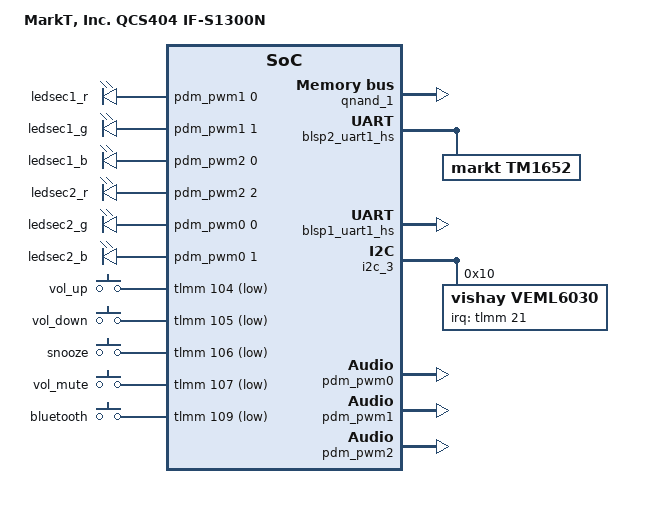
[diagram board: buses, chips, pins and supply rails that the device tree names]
/*
 * Copyright (c) 2019-2020, The Linux Foundation. All rights reserved.
 *
 * This program is free software; you can redistribute it and/or modify
 * it under the terms of the GNU General Public License version 2 and
 * only version 2 as published by the Free Software Foundation.
 *
 * This program is distributed in the hope that it will be useful,
 * but WITHOUT ANY WARRANTY; without even the implied warranty of
 * MERCHANTABILITY or FITNESS FOR A PARTICULAR PURPOSE.  See the
 * GNU General Public License for more details.
 */

/dts-v1/;

#include "qcs404.dtsi"
#include "qcs405-wsa-audio-overlay.dtsi"
#include "qcs405-circular-pca9956.dtsi"

/ {
	model = "MarkT, Inc. QCS404 IF-S1300N";
	compatible = "qcom,qcs404-iot", "qcom,qcs404", "qcom,iot";
	qcom,board-id = <0x010020 0x3>;
	markt,model-name = "NL-S700KRL";

	aliases {
		uart0 = &blsp1_uart4_hs;    // /dev/ttyHS0 : WCNS3980
		uart1 = &blsp2_uart1_hs;    // /dev/ttyHS1 : LED Display (TM1652)
		uart2 = &blsp1_uart1_hs;    // /dev/ttyHS2 : IR
	};
};


&soc {
    pwm-leds {
	compatible = "pwm-leds";
	
		ledsec1_r: pwm_led@11 {
			label = "ledsec1_r";
			max_brightness = <255>;
			pwms = <&pdm_pwm1 0 10000>;
			linux,default-trigger = "default-on";
			//linux,default-trigger = "heartbeat";
			//linux,default-trigger = "none";
			markt,led-index = <1>;
		};

		ledsec1_g: pwm_led@12 {
			label = "ledsec1_g";
			max_brightness = <255>;
			pwms = <&pdm_pwm1 1 10000>;
			linux,default-trigger = "default-on";
			//linux,default-trigger = "heartbeat";
			//linux,default-trigger = "none";
			markt,led-index = <2>;
		};

		ledsec1_b: pwm_led@21 {
			label = "ledsec1_b";
			max_brightness = <255>;
			pwms = <&pdm_pwm2 0 10000>;
			linux,default-trigger = "default-on";
			//linux,default-trigger = "heartbeat";
			//linux,default-trigger = "none";
			markt,led-index = <3>;
		};

		ledsec2_r: pwm_led@23 {
			label = "ledsec2_r";
			max_brightness = <255>;
			pwms = <&pdm_pwm2 2 10000>;
			linux,default-trigger = "default-on";
			//linux,default-trigger = "heartbeat";
			//linux,default-trigger = "none";
			markt,led-index = <4>;
		};

		ledsec2_g: pwm_led@1 {
			label = "ledsec2_g";
			max_brightness = <255>;
			pwms = <&pdm_pwm0 0 10000>;
			linux,default-trigger = "default-on";
			//linux,default-trigger = "heartbeat";
			//linux,default-trigger = "none";
			markt,led-index = <5>;
		};

		ledsec2_b: pwm_led@2 {
			label = "ledsec2_b";
			max_brightness = <255>;
			pwms = <&pdm_pwm0 1 10000>;
			linux,default-trigger = "default-on";
			//linux,default-trigger = "heartbeat";
			//linux,default-trigger = "none";
			markt,led-index = <6>;
		};
		
	};
};


&gpio_keys {
    vdd-supply = <&pms405_l12>;
    vdd-voltage = <3300000 3300000>;
    vdd-cureent = <15000>;
    
    vol_up {
        label = "vol_up";
        gpios = <&tlmm 104 GPIO_ACTIVE_LOW>;
        linux,input-type = <1>;
        linux,code = <KEY_VOLUMEUP>;
        debounce-interval = <90>;
        gpio-key,wakeup;
    };    

    vol_down {
        label = "vol_down";
        gpios = <&tlmm 105 GPIO_ACTIVE_LOW>;
        linux,input-type = <1>;
        linux,code = <KEY_VOLUMEDOWN>;
        debounce-interval = <90>;
        gpio-key,wakeup;
    };

    snooze {
        label = "snooze";
        gpios = <&tlmm 106 GPIO_ACTIVE_LOW>;
        linux,input-type = <1>;
        linux,code = <256>;
        debounce-interval = <90>;
        gpio-key,wakeup;
    };

    vol_mute {
        label = "vol_mute";
        gpios = <&tlmm 107 GPIO_ACTIVE_LOW>;
        linux,input-type = <1>;
        linux,code = <KEY_MUTE>;
        debounce-interval = <90>;
        gpio-key,wakeup;
    };

    bluetooth {
        label = "bluetooth";
        gpios = <&tlmm 109 GPIO_ACTIVE_LOW>;
        linux,input-type = <1>;
        linux,code = <257>;
        debounce-interval = <90>;
        gpio-key,wakeup;
    };

};

&ep92a6_hdmi_64 {
    status = "disabled";
};

&wcd9xxx_intc {
    status = "disabled";
};

&wcd9335 {
    status = "disabled";
};

&emac_hw {
    status = "disabled";
};

&qnand_1 {
	status = "ok";
};

&wsa881x_0211 {
    status = "disabled";
};

&wsa881x_0212 {
    status = "disabled";
};

&wsa881x_0214 {
    status = "disabled";
};

&lineout_booster_gpio {
    status = "disabled";
};

&lineout_booster_active {
    status = "disabled";
};

&lineout_booster_sleep {
    status = "disabled";
};

&cdc_dmic23_gpios {
    status = "disabled";
};

&cdc_dmic45_gpios {
    status = "disabled";
};

&cdc_dmic67_gpios {
    status = "disabled";
};

&quat_mi2s_gpios {
    status = "disabled";
};

&tdm_sen_rx {
    status = "disabled";
};

&tdm_sen_tx {
    status = "disabled";
};

&qcs405_snd {
    qcom,cdc-dmic01-gpios = <&cdc_dmic01_gpios>;
    qcom,cdc-dmic23-gpios = <0>;
    qcom,cdc-dmic45-gpios = <0>;
    qcom,cdc-dmic67-gpios = <0>;
    qcom,lineout-booster-gpio = <0>;
    qcom,spdif-audio-intf = <0>;
    qcom,wcn-btfm = <0>;
    qcom,tasha-codec = <0>;
    qcom,wsa-max-devs = <1>;
    qcom,wsa-devs = <&wsa881x_0213>;
    qcom,wsa-aux-dev-prefix = "SpkrLeft";
    asoc-codec = <&stub_codec>, <&bolero>;
    asoc-codec-names = "msm-stub-codec.1", "bolero_codec";
    qcom,audio-routing =
        "VA DMIC0", "VA MIC BIAS1",
        "VA MIC BIAS1", "Digital Mic0",
        "VA DMIC1", "VA MIC BIAS1",
        "VA MIC BIAS1", "Digital Mic1",
        "SpkrLeft IN", "WSA_SPK1 OUT",
        "WSA_SPK1 OUT", "VA_MCLK";
};

&tlmm {
	evb_tlmm_gpio_key{
		tlmm_gpio_key_active: tlmm_gpio_key_active {
			mux {
				pins = "gpio104", "gpio105", "gpio106", "gpio107", "gpio109";
			};

			config {
				pins = "gpio104", "gpio105", "gpio106", "gpio107", "gpio109";
			drive-strength = <2>;
			bias-pull-up;
			};
		};

		tlmm_gpio_key_suspend: tlmm_gpio_key_suspend {
			mux {
				pins = "gpio104", "gpio105", "gpio106", "gpio107", "gpio109";
			};

			config {
				pins = "gpio104", "gpio105", "gpio106", "gpio107", "gpio109";
			drive-strength = <2>;
			bias-disable;
			};
		};
	};
};

&wsa_macro {
    markt,ldo-gpios = <&tlmm 63 GPIO_ACTIVE_LOW>;
};


&cdsp_fw_mem {
	reg = <0x0 0x88600000 0x0 0x600000>;
};

&wlan_msa_mem {
	reg = <0x0 0x88C00000 0x0 0x100000>;
};

&blsp2_uart1_active {
    mux {
        pins = "gpio26", "gpio27";
        function = "blsp_uart5";
    };
    config {
        pins = "gpio26", "gpio27";
        drive-strength = <2>;
        bias-disable;
    };
};

&blsp2_uart1_sleep {
    mux {
        pins = "gpio26", "gpio27";
        function = "gpio";
    };
    config {
        pins = "gpio26", "gpio27";
        drive-strength = <2>;
        bias-disable;
    };
};

&blsp2_uart1_hs {
    status = "okay";
	
	tm1652 {
		compatible = "markt,tm1652";
		baudrate = <19200>;
	};
	
};


&blsp1_uart1_active {
    mux {
        pins = "gpio30", "gpio31";
        function = "blsp_uart0";
    };
    config {
        pins = "gpio30", "gpio31";
        drive-strength = <2>;
        bias-disable;
    };
};

&blsp1_uart1_sleep {
    mux {
        pins = "gpio30", "gpio31";
        function = "gpio";
    };
    config {
        pins = "gpio30", "gpio31";
        drive-strength = <2>;
        bias-disable;
    };
};

&blsp1_uart1_hs {
    status = "okay";
	qcom,set-autosuspend-delay = <20000>; // 20sec
};

&i2c_3 {
    status = "okay";

    veml6030: veml6030@10 {
        compatible = "vishay,veml6030";
        reg = <0x10>;
	interrupt-parent = <&tlmm>;
	interrupts = <21 IRQ_TYPE_LEVEL_LOW>;
    };
};

&pdm_pwm0 {
	status  = "okay";
	pinctrl-names = "pwm_led_act", "pwm_led_sus";
	pinctrl-0 = <&pwm_led1_active &pwm_led2_active>;
	pinctrl-1 = <&pwm_led1_sleep &pwm_led2_sleep>;
};

&pdm_pwm1 {
	status  = "okay";
	pinctrl-names = "pwm_led_act", "pwm_led_sus";
	pinctrl-0 = <&pwm_led11_active &pwm_led12_active>;
	pinctrl-1 = <&pwm_led11_sleep &pwm_led12_sleep>;
};

&pdm_pwm2 {
	status  = "okay";
	pinctrl-names = "pwm_led_act", "pwm_led_sus";
	pinctrl-0 = <&pwm_led21_active &pwm_led23_active &pwm_led24_active>;
	pinctrl-1 = <&pwm_led21_sleep &pwm_led23_sleep &pwm_led24_sleep>;
};

&usb3 {
    status = "disabled";
};

&usb_ss_phy {
    status = "disabled";
};

&usb2_phy1 {
    status = "disabled";
};

